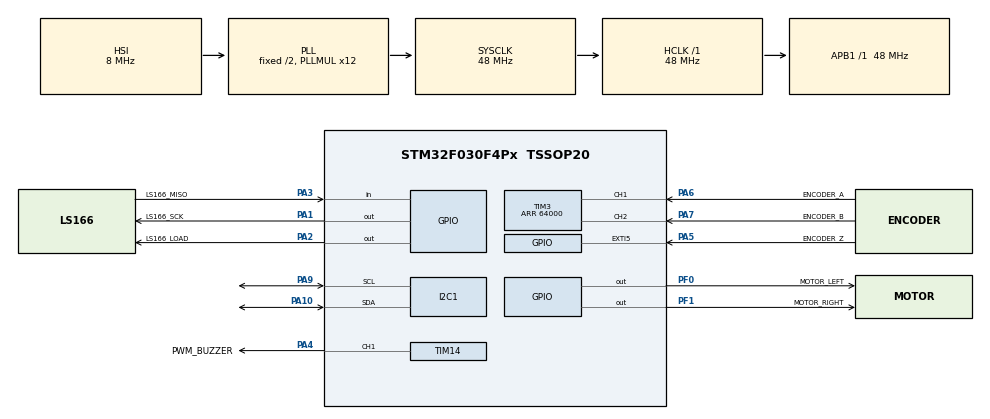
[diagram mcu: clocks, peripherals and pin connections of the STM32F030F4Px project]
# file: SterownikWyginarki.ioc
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Mcu.Family=STM32F0
Mcu.Name=STM32F030F4Px
Mcu.Package=TSSOP20
NVIC.EXTI4_15_IRQn=true\:2\:0\:true\:false\:true\:true
NVIC.TIM17_IRQn=true\:0\:0\:false\:true\:true\:1\:true
NVIC.TIM3_IRQn=true\:1\:0\:true\:false\:true\:true
PA1.GPIO_Label=LS166_SCK
PA1.GPIO_PuPd=GPIO_PULLDOWN
PA1.Signal=GPIO_Output
PA10.Mode=I2C
PA10.Signal=I2C1_SDA
PA2.GPIO_Label=LS166_LOAD
PA2.GPIO_PuPd=GPIO_PULLDOWN
PA2.Signal=GPIO_Output
PA3.GPIO_Label=LS166_MISO
PA3.GPIO_PuPd=GPIO_PULLDOWN
PA3.Signal=GPIO_Input
PA4.GPIO_Label=PWM_BUZZER
PA4.Signal=S_TIM14_CH1
PA5.GPIO_Label=ENCODER_Z
PA5.GPIO_ModeDefaultEXTI=GPIO_MODE_IT_RISING
PA5.GPIO_PuPd=GPIO_NOPULL
PA5.Signal=GPXTI5
PA6.GPIO_Label=ENCODER_A
PA6.Signal=S_TIM3_CH1
PA7.GPIO_Label=ENCODER_B
PA7.Signal=S_TIM3_CH2
PA9.Mode=I2C
PA9.Signal=I2C1_SCL
PF0-OSC_IN.GPIO_Label=MOTOR_LEFT
PF0-OSC_IN.Signal=GPIO_Output
PF1-OSC_OUT.GPIO_Label=MOTOR_RIGHT
PF1-OSC_OUT.Signal=GPIO_Output
ProjectManager.HeapSize=0x200
ProjectManager.StackSize=0x400
ProjectManager.TargetToolchain=TrueSTUDIO
RCC.AHBFreq_Value=48000000
RCC.APB1Freq_Value=48000000
RCC.APB1TimFreq_Value=48000000
RCC.HCLKFreq_Value=48000000
RCC.PLLMUL=RCC_PLL_MUL12
RCC.SYSCLKFreq_VALUE=48000000
RCC.SYSCLKSource=RCC_SYSCLKSOURCE_PLLCLK
SH.S_TIM14_CH1.0=TIM14_CH1,PWM Generation1 CH1
SH.S_TIM3_CH1.0=TIM3_CH1,Encoder_Interface
SH.S_TIM3_CH2.0=TIM3_CH2,Encoder_Interface
TIM14.Channel=TIM_CHANNEL_1
TIM14.Period=1000
TIM14.Prescaler=48
TIM14.Pulse=500
TIM17.Period=1
TIM17.Prescaler=24000
TIM3.AutoReloadPreload=TIM_AUTORELOAD_PRELOAD_DISABLE
TIM3.EncoderMode=TIM_ENCODERMODE_TI12
TIM3.IC1Filter=5
TIM3.IC2Filter=5
TIM3.Period=64000
VP_TIM14_VS_ClockSourceINT.Mode=Enable_Timer
VP_TIM17_VS_ClockSourceINT.Mode=Enable_Timer
board=SterownikWyginarki

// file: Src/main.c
/**
  ******************************************************************************
  * @file           : main.c
  * @brief          : Main program body
  ******************************************************************************
  ** This notice applies to any and all portions of this file
  * that are not between comment pairs USER CODE BEGIN and
  * USER CODE END. Other portions of this file, whether
  * inserted by the user or by software development tools
  * are owned by their respective copyright owners.
  *
  * COPYRIGHT(c) 2019 STMicroelectronics
  *
  * Redistribution and use in source and binary forms, with or without modification,
  * are permitted provided that the following conditions are met:
  *   1. Redistributions of source code must retain the above copyright notice,
  *      this list of conditions and the following disclaimer.
  *   2. Redistributions in binary form must reproduce the above copyright notice,
  *      this list of conditions and the following disclaimer in the documentation
  *      and/or other materials provided with the distribution.
  *   3. Neither the name of STMicroelectronics nor the names of its contributors
  *      may be used to endorse or promote products derived from this software
  *      without specific prior written permission.
  *
  * THIS SOFTWARE IS PROVIDED BY THE COPYRIGHT HOLDERS AND CONTRIBUTORS "AS IS"
  * AND ANY EXPRESS OR IMPLIED WARRANTIES, INCLUDING, BUT NOT LIMITED TO, THE
  * IMPLIED WARRANTIES OF MERCHANTABILITY AND FITNESS FOR A PARTICULAR PURPOSE ARE
  * DISCLAIMED. IN NO EVENT SHALL THE COPYRIGHT HOLDER OR CONTRIBUTORS BE LIABLE
  * FOR ANY DIRECT, INDIRECT, INCIDENTAL, SPECIAL, EXEMPLARY, OR CONSEQUENTIAL
  * DAMAGES (INCLUDING, BUT NOT LIMITED TO, PROCUREMENT OF SUBSTITUTE GOODS OR
  * SERVICES; LOSS OF USE, DATA, OR PROFITS; OR BUSINESS INTERRUPTION) HOWEVER
  * CAUSED AND ON ANY THEORY OF LIABILITY, WHETHER IN CONTRACT, STRICT LIABILITY,
  * OR TORT (INCLUDING NEGLIGENCE OR OTHERWISE) ARISING IN ANY WAY OUT OF THE USE
  * OF THIS SOFTWARE, EVEN IF ADVISED OF THE POSSIBILITY OF SUCH DAMAGE.
  *
  ******************************************************************************
  */
#include "main.h"
#include "stm32f0xx_hal.h"
#include "i2c.h"
#include "tim.h"
#include "gpio.h"

/* USER CODE BEGIN Includes */
#include "i2c-lcd.h"
#include "Sounds.h"
#include "Buttons.h"
#include "Encoder.h"
#include "Settings.h"
#include "Menu.h"
#include "MenuControls.h"
#include "eeprom24xx.h"

/* In stdio.h file is everything related to output stream */
/* USER CODE END Includes */

/* USER CODE BEGIN PV */
/* Private variables ---------------------------------------------------------*/

/* USER CODE END PV */

void SystemClock_Config(void);
static void MX_NVIC_Init(void);

/* USER CODE BEGIN PFP */
/* Private function prototypes -----------------------------------------------*/

/*
 * 				Przepelnienia Timerow
 */
void HAL_TIM_PeriodElapsedCallback(TIM_HandleTypeDef *htim){
	if(htim->Instance == TIM17){

		Buttons_ISR_Process();		/* W¹tek przyciskow w przerwaniu */
		Sounds_ISR_Process();		/* W¹tek modulu buzzera w przerwaniu */
		MC_ISR_Process();			/* Watek kontrolek ISR */
		Encoder_ISR_Process();		/* Przepelnienie licznika impulsow enkodera */
		RunningMode_ISR_Process();	/* Watek uzywany podczas pracy maszyny */

	}
}

/*
 * 				Przerwania zewnetrzne GPIO
 */
void HAL_GPIO_EXTI_Callback(uint16_t pin){
	if(pin == ENCODER_Z_Pin){
		Encoder_Z_Pulse();			/* Impuls linii Z */
	}
}

/* USER CODE END PFP */

int main(void)
{

  /* MCU Configuration----------------------------------------------------------*/

  /* Reset of all peripherals, Initializes the Flash interface and the Systick. */
  HAL_Init();

  /* Configure the system clock */
  SystemClock_Config();

  /* Initialize all configured peripherals */
  MX_GPIO_Init();
  MX_I2C1_Init();
  MX_TIM17_Init();
  MX_TIM14_Init();
  MX_TIM3_Init();

  /* Initialize interrupts */
  MX_NVIC_Init();
  /* USER CODE BEGIN 2 */

  Buttons_Init();
  Sounds_Init();
  lcd_init();
  Encoder_Init();
  Menu_Init();

  /* USER CODE END 2 */

  /* Infinite loop */
  /* USER CODE BEGIN WHILE */

  EEPROM24XX_Load(0, &Settings.bytes, sizeof(Settings.bytes));
  lcd_printf("    mimet.pl");

  HAL_Delay(3000);

  while (1)
  {

  /* USER CODE END WHILE */

  /* USER CODE BEGIN 3 */

	  Buttons_Process();		/* W¹tek przyciskow w pêtli */
	  Encoder_Process();
	  Menu_Process();

  }
  /* USER CODE END 3 */

}

void SystemClock_Config(void)
{

  RCC_OscInitTypeDef RCC_OscInitStruct;
  RCC_ClkInitTypeDef RCC_ClkInitStruct;
  RCC_PeriphCLKInitTypeDef PeriphClkInit;

    /**Initializes the CPU, AHB and APB busses clocks
    */
  RCC_OscInitStruct.OscillatorType = RCC_OSCILLATORTYPE_HSI;
  RCC_OscInitStruct.HSIState = RCC_HSI_ON;
  RCC_OscInitStruct.HSICalibrationValue = 16;
  RCC_OscInitStruct.PLL.PLLState = RCC_PLL_ON;
  RCC_OscInitStruct.PLL.PLLSource = RCC_PLLSOURCE_HSI;
  RCC_OscInitStruct.PLL.PLLMUL = RCC_PLL_MUL12;
  RCC_OscInitStruct.PLL.PREDIV = RCC_PREDIV_DIV1;
  HAL_RCC_OscConfig(&RCC_OscInitStruct);

    /**Initializes the CPU, AHB and APB busses clocks
    */
  RCC_ClkInitStruct.ClockType = RCC_CLOCKTYPE_HCLK|RCC_CLOCKTYPE_SYSCLK
                              |RCC_CLOCKTYPE_PCLK1;
  RCC_ClkInitStruct.SYSCLKSource = RCC_SYSCLKSOURCE_PLLCLK;
  RCC_ClkInitStruct.AHBCLKDivider = RCC_SYSCLK_DIV1;
  RCC_ClkInitStruct.APB1CLKDivider = RCC_HCLK_DIV1;

  HAL_RCC_ClockConfig(&RCC_ClkInitStruct, FLASH_LATENCY_1);

  PeriphClkInit.PeriphClockSelection = RCC_PERIPHCLK_I2C1;
  PeriphClkInit.I2c1ClockSelection = RCC_I2C1CLKSOURCE_HSI;
  HAL_RCCEx_PeriphCLKConfig(&PeriphClkInit);

    /**Configure the Systick interrupt time
    */
  HAL_SYSTICK_Config(HAL_RCC_GetHCLKFreq()/1000);

    /**Configure the Systick
    */
  HAL_SYSTICK_CLKSourceConfig(SYSTICK_CLKSOURCE_HCLK);

  /* SysTick_IRQn interrupt configuration */
  HAL_NVIC_SetPriority(SysTick_IRQn, 0, 0);
}

/**
  * @brief NVIC Configuration.
  * @retval None
  */
static void MX_NVIC_Init(void)
{
  /* TIM17_IRQn interrupt configuration */
  HAL_NVIC_SetPriority(TIM17_IRQn, 0, 0);
  HAL_NVIC_EnableIRQ(TIM17_IRQn);
}

void _Error_Handler(char *file, int line)
{
  while(1)
  {
  }
}

/************************ (C) COPYRIGHT STMicroelectronics *****END OF FILE****/
